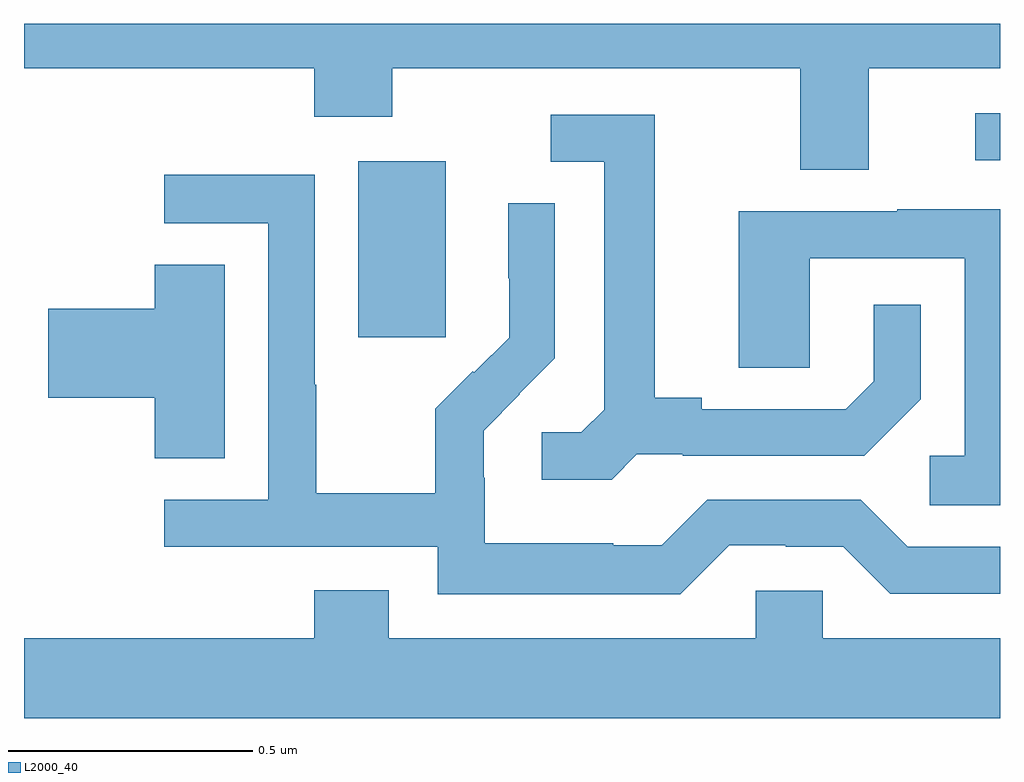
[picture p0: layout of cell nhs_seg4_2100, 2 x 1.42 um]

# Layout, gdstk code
import gdstk
lib = gdstk.Library(unit=1e-6, precision=1e-09)
def R(c, l, rs):  # rectangles x0, y0, x1, y1
    for r in rs: c.add(gdstk.rectangle(r[:2], r[2:], *l))
def P(c, l, *ps):  # polygons
    for p in ps: c.add(gdstk.Polygon(p, *l))
L2000_40 = (2000, 40)

nhs_seg4_2100 = lib.new_cell('nhs_seg4_2100')
R(nhs_seg4_2100, L2000_40, [(136.685,808.257,136.864,808.618), (137.949,808.62,138,808.716)])
P(nhs_seg4_2100, L2000_40, [(137.731,808.808),(138,808.808),(138,808.9),(136,808.9),(136,808.808),(136.595,808.808),(136.595,808.709),(136.755,808.709),(136.755,808.808),(137.591,808.808),(137.591,808.6),(137.731,808.6)],
  [(137.256,808.017),(137.35,808.017),(137.35,808.014),(137.722,808.014),(137.838,808.13),(137.838,808.324),(137.741,808.324),(137.741,808.167),(137.684,808.11),(137.389,808.11),(137.389,808.133),(137.293,808.133),(137.293,808.713),(137.079,808.713),(137.079,808.617),(137.189,808.617),(137.189,808.109),(137.142,808.062),(137.061,808.062),(137.061,807.965),(137.204,807.965)],
  [(137.445,807.831),(137.561,807.831),(137.561,807.828),(137.679,807.828),(137.775,807.732),(138,807.732),(138,807.828),(137.811,807.828),(137.715,807.924),(137.4,807.924),(137.307,807.831),(137.207,807.831),(137.207,807.835),(136.944,807.835),(136.944,807.969),(136.942,807.969),(136.942,808.066),(137.016,808.14),(137.015,808.141),(137.088,808.214),(137.088,808.532),(136.992,808.532),(136.992,808.378),(136.994,808.378),(136.994,808.256),(136.923,808.185),(136.92,808.188),(136.843,808.111),(136.843,807.937),(136.599,807.937),(136.599,808.16),(136.596,808.16),(136.596,808.59),(136.287,808.59),(136.287,808.491),(136.5,808.491),(136.5,807.924),(136.287,807.924),(136.287,807.828),(136.848,807.828),(136.848,807.731),(137.345,807.731)],
  [(138,808.519),(137.789,808.519),(137.789,808.515),(137.465,808.515),(137.465,808.195),(137.61,808.195),(137.61,808.419),(137.928,808.419),(137.928,808.014),(137.856,808.014),(137.856,807.913),(138,807.913)],
  [(136.411,808.406),(136.268,808.406),(136.268,808.316),(136.05,808.316),(136.05,808.133),(136.268,808.133),(136.268,808.009),(136.411,808.009)],
  [(138,807.64),(137.637,807.64),(137.637,807.738),(137.499,807.738),(137.499,807.64),(136.747,807.64),(136.747,807.739),(136.595,807.739),(136.595,807.64),(136,807.64),(136,807.476),(138,807.476)])

lib.write_gds('nhs_seg4_2100.gds')
